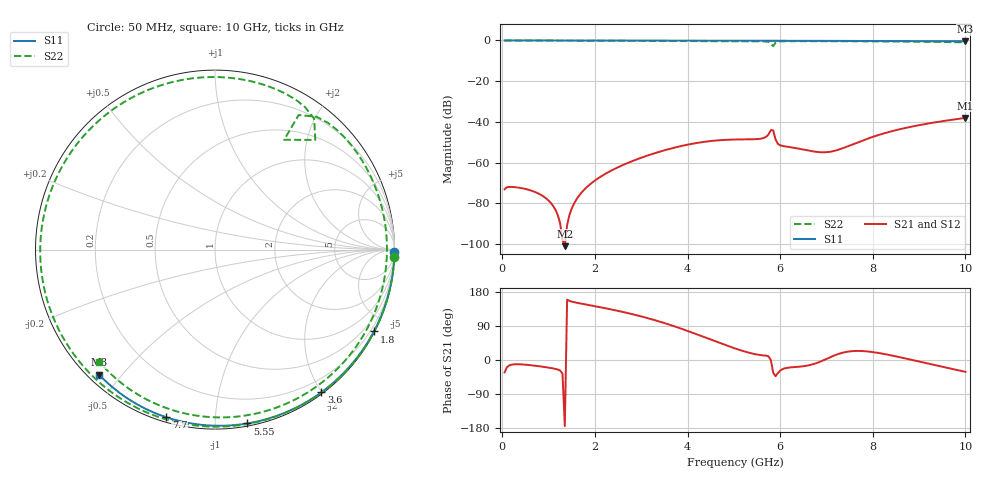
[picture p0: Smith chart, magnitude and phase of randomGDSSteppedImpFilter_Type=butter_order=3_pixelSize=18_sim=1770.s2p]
! freq	dB(S11)	phase(S11)	dB(S12)	phase(S12)
!  dB(S21)	phase(S21)	dB(S22)	phase(S22)
!S-par simulation data
#  GHz  S  DB  R 50
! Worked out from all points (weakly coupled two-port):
!   200 points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, 50 MHz to 10 GHz, reference 50 ohm
!   highest |S21| = -38.02 dB at 10 GHz (marker M1); lowest = -101.1 dB at 1.35 GHz (marker M2)
!   lowest |S11| = -0.4 dB at 10 GHz (marker M3), VSWR 38.89, Z = 1.53 - j21.8 ohm
!   |S11| at or under -10 dB: nowhere
!   |S22| runs from -2.8 to 0.0 dB; largest |S21 - S12| = 0
!   S11 on the Smith chart (normalised r, x): 50 MHz: open; 1.8 GHz: 0.04, -4.12; 3.6 GHz: 0.02, -1.99; 5.55 GHz: 0.02, -1.20; 7.7 GHz: 0.02, -0.75; 10 GHz: 0.03, -0.44
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0.05  -0.00 -0.8  -73.09 -32.7  -73.09 -32.7  -0.00 -2.5
0.5  -0.01 -7.7  -72.94 -12.3  -72.94 -12.3  -0.02 -24.5
1.05  -0.02 -16.0  -79.89 -21.2  -79.89 -21.2  -0.06 -51.2
1.35  -0.03 -20.5  -101.06 -174.4  -101.06 -174.4  -0.08 -65.6
1.55  -0.03 -23.5  -80.10 152.6  -80.10 152.6  -0.10 -75.2
1.75  -0.03 -26.5  -73.75 147.7  -73.75 147.7  -0.11 -84.8
1.8  -0.03 -27.3  -72.59 146.6  -72.59 146.6  -0.11 -87.2
2.55  -0.05 -38.3  -61.76 128.3  -61.76 128.3  -0.16 -123.3
3.4  -0.07 -50.5  -54.63 101.3  -54.63 101.3  -0.21 -165.8
3.6  -0.07 -53.3  -53.35 93.6  -53.35 93.6  -0.22 -176.3
4.3  -0.09 -62.9  -50.00 63.2  -50.00 63.2  -0.28 145.3
5.05  -0.11 -73.0  -48.64 29.5  -48.64 29.5  -0.33 100.7
5.55  -0.13 -79.5  -48.35 13.4  -48.35 13.4  -0.39 68.9
5.75  -0.14 -82.1  -46.13 9.5  -46.13 9.5  -0.77 52.9
5.85  -0.14 -83.4  -44.19 -33.8  -44.19 -33.8  -2.82 57.8
5.9  -0.14 -84.0  -48.61 -42.8  -48.61 -42.8  -1.09 58.1
6  -0.15 -85.3  -51.48 -28.1  -51.48 -28.1  -0.48 48.2
6.7  -0.18 -94.0  -54.46 -11.5  -54.46 -11.5  -0.37 5.4
7.7  -0.24 -106.2  -49.84 23.9  -49.84 23.9  -0.43 -44.0
8.35  -0.29 -113.8  -44.96 13.4  -44.96 13.4  -0.51 -71.6
9.15  -0.36 -123.1  -40.99 -8.3  -40.99 -8.3  -0.66 -102.9
10  -0.45 -132.9  -38.02 -31.2  -38.02 -31.2  -0.94 -135.9
